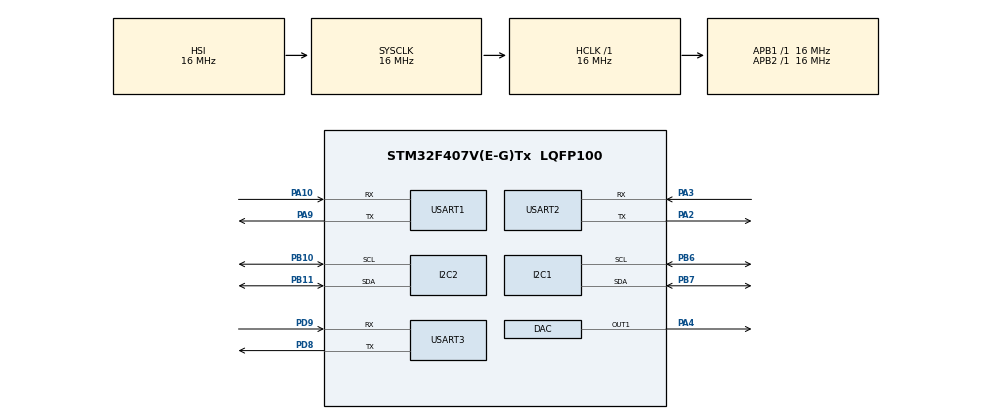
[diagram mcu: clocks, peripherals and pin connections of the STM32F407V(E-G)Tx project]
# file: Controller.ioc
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Mcu.Family=STM32F4
Mcu.Name=STM32F407V(E-G)Tx
Mcu.Package=LQFP100
NVIC.PriorityGroup=NVIC_PRIORITYGROUP_4
PA10.Mode=Asynchronous
PA10.Signal=USART1_RX
PA2.Mode=Asynchronous
PA2.Signal=USART2_TX
PA3.Mode=Asynchronous
PA3.Signal=USART2_RX
PA4.Signal=COMP_DAC1_group
PA9.Mode=Asynchronous
PA9.Signal=USART1_TX
PB10.Mode=I2C
PB10.Signal=I2C2_SCL
PB11.Mode=I2C
PB11.Signal=I2C2_SDA
PB6.Mode=I2C
PB6.Signal=I2C1_SCL
PB7.Mode=I2C
PB7.Signal=I2C1_SDA
PD8.Mode=Asynchronous
PD8.Signal=USART3_TX
PD9.Mode=Asynchronous
PD9.Signal=USART3_RX
ProjectManager.HeapSize=0x200
ProjectManager.StackSize=0x400
ProjectManager.TargetToolchain=MDK-ARM V5
RCC.AHBFreq_Value=16000000
RCC.APB1Freq_Value=16000000
RCC.APB2Freq_Value=16000000
RCC.CortexFreq_Value=16000000
RCC.HSE_VALUE=25000000
RCC.HSI_VALUE=16000000
RCC.LSE_VALUE=32768
RCC.SYSCLKFreq_VALUE=16000000
RCC.VCOOutputFreq_Value=192000000
SH.COMP_DAC1_group.0=DAC_OUT1,DAC_OUT1
USART1.VirtualMode=VM_ASYNC
USART2.VirtualMode=VM_ASYNC
USART3.VirtualMode=VM_ASYNC
VP_RTC_VS_RTC_Activate.Mode=RTC_Enabled
VP_TIM1_VS_ClockSourceINT.Mode=Internal
board=custom

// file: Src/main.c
/* USER CODE BEGIN Header */
/**
  ******************************************************************************
  * @file           : main.c
  * @brief          : Main program body
  ******************************************************************************
  * @attention
  *
  * <h2><center>&copy; Copyright (c) 2020 STMicroelectronics.
  * All rights reserved.</center></h2>
  *
  * This software component is licensed by ST under BSD 3-Clause license,
  * the "License"; You may not use this file except in compliance with the
  * License. You may obtain a copy of the License at:
  *                        opensource.org/licenses/BSD-3-Clause
  *
  ******************************************************************************
  */
/* USER CODE END Header */

#include "main.h"

/* USER CODE BEGIN Includes */
#include "main.h"
#include "stm32f4xx_hal.h"
#include "BME280.h"
#include <string.h>
#include <math.h>
#include "LCD1602.h"
/* USER CODE END Includes */

/* USER CODE BEGIN PD */
#define DAC_MAX 4095
#define DAC_MIN 2400
#define TempNormMin 18
#define TempNormMax 22
#define HumNormMin 35
#define HumNormMax 60
#define co2_max 600
/* USER CODE END PD */

DAC_HandleTypeDef hdac;

I2C_HandleTypeDef hi2c1;
I2C_HandleTypeDef hi2c2;

RTC_HandleTypeDef hrtc;

TIM_HandleTypeDef htim1;

UART_HandleTypeDef huart1;
UART_HandleTypeDef huart2;
UART_HandleTypeDef huart3;

/* USER CODE BEGIN PV */
char str1[200] = {0,};
uint8_t dummy[2];
int wifiOk = 0;
uint8_t buf[64];
uint8_t pos = 0;
uint8_t fakebuf[2];
int LCDrow=0, LCDcol=0;
float t_1 = 0.0f, h_1 = 0.0f, t_2 = 0.0f, h_2 = 0.0f, tV_1 = 0.0f, tV_2 = 0.0f, co2_1 = 0.0f, co2_2 = 0.0f;
int peop_1 = 0, peop_2 = 0;

int OpenValveStep;
/* USER CODE END PV */

void SystemClock_Config(void);
static void MX_GPIO_Init(void);
static void MX_DAC_Init(void);
static void MX_I2C1_Init(void);
static void MX_I2C2_Init(void);
static void MX_RTC_Init(void);
static void MX_TIM1_Init(void);
static void MX_USART1_UART_Init(void);
static void MX_USART2_UART_Init(void);
static void MX_USART3_UART_Init(void);
/* USER CODE BEGIN PFP */
int mystrlen(char * s1);
void puts0(char* data);
void Wifi(char* data);
void WifiInit(void);
void WifiSend(void);
void ReadTemp(void);
void ReadHum(void);
void ReadCo2(void);
void CheckDevices(float t_1,float h_1,float co2_1,float t_2,float h_2,float co2_2);
int mycmp(unsigned char* s1, char* s2, int f);
void clr_str(unsigned char* s1, unsigned int len);
void CloseValveOneStep(int a);
void OpenValveOneStep(int a);
void CloseValve(int a);
void OpenValve(int a);
void CheckTemp(float t, float h, float co2);
void CheckHum(float t, float h, float co2);
void CheckCO2(float t, float h, float co2);
void CheckValve(int a);
void CheckParam(void);
/* USER CODE END PFP */

int main(void)
{

  /* MCU Configuration--------------------------------------------------------*/

  /* Reset of all peripherals, Initializes the Flash interface and the Systick. */
  HAL_Init();

  /* Configure the system clock */
  SystemClock_Config();

  /* Initialize all configured peripherals */
  MX_GPIO_Init();
  MX_DAC_Init();
  MX_I2C1_Init();
  MX_I2C2_Init();
  MX_RTC_Init();
  MX_TIM1_Init();
  MX_USART1_UART_Init();
  MX_USART2_UART_Init();
  MX_USART3_UART_Init();
  /* USER CODE BEGIN 2 */
	HAL_UART_Receive_IT(&huart3, fakebuf, 1);
	BME280_Init();
	WifiInit();
  /* USER CODE END 2 */

  /* Infinite loop */
  while (1)
  {
		HAL_DAC_SetValue(&hdac,DAC_CHANNEL_1,DAC_ALIGN_12B_R,DAC_MAX);
		HAL_UART_Receive_IT(&huart3, (uint8_t *)fakebuf,1);
		CheckParam();
		WifiSend();
  }
}

void SystemClock_Config(void)
{
  RCC_OscInitTypeDef RCC_OscInitStruct = {0};
  RCC_ClkInitTypeDef RCC_ClkInitStruct = {0};
  RCC_PeriphCLKInitTypeDef PeriphClkInitStruct = {0};

  /** Configure the main internal regulator output voltage
  */
  __HAL_RCC_PWR_CLK_ENABLE();
  __HAL_PWR_VOLTAGESCALING_CONFIG(PWR_REGULATOR_VOLTAGE_SCALE1);
  /** Initializes the CPU, AHB and APB busses clocks
  */
  RCC_OscInitStruct.OscillatorType = RCC_OSCILLATORTYPE_HSI|RCC_OSCILLATORTYPE_LSI;
  RCC_OscInitStruct.HSIState = RCC_HSI_ON;
  RCC_OscInitStruct.HSICalibrationValue = RCC_HSICALIBRATION_DEFAULT;
  RCC_OscInitStruct.LSIState = RCC_LSI_ON;
  RCC_OscInitStruct.PLL.PLLState = RCC_PLL_NONE;
  if (HAL_RCC_OscConfig(&RCC_OscInitStruct) != HAL_OK)
  {
    Error_Handler();
  }
  /** Initializes the CPU, AHB and APB busses clocks
  */
  RCC_ClkInitStruct.ClockType = RCC_CLOCKTYPE_HCLK|RCC_CLOCKTYPE_SYSCLK
                              |RCC_CLOCKTYPE_PCLK1|RCC_CLOCKTYPE_PCLK2;
  RCC_ClkInitStruct.SYSCLKSource = RCC_SYSCLKSOURCE_HSI;
  RCC_ClkInitStruct.AHBCLKDivider = RCC_SYSCLK_DIV1;
  RCC_ClkInitStruct.APB1CLKDivider = RCC_HCLK_DIV1;
  RCC_ClkInitStruct.APB2CLKDivider = RCC_HCLK_DIV1;

  if (HAL_RCC_ClockConfig(&RCC_ClkInitStruct, FLASH_LATENCY_0) != HAL_OK)
  {
    Error_Handler();
  }
  PeriphClkInitStruct.PeriphClockSelection = RCC_PERIPHCLK_RTC;
  PeriphClkInitStruct.RTCClockSelection = RCC_RTCCLKSOURCE_LSI;
  if (HAL_RCCEx_PeriphCLKConfig(&PeriphClkInitStruct) != HAL_OK)
  {
    Error_Handler();
  }
}

static void MX_DAC_Init(void)
{

  DAC_ChannelConfTypeDef sConfig = {0};

  /** DAC Initialization
  */
  hdac.Instance = DAC;
  if (HAL_DAC_Init(&hdac) != HAL_OK)
  {
    Error_Handler();
  }
  /** DAC channel OUT1 config
  */
  sConfig.DAC_Trigger = DAC_TRIGGER_NONE;
  sConfig.DAC_OutputBuffer = DAC_OUTPUTBUFFER_ENABLE;
  if (HAL_DAC_ConfigChannel(&hdac, &sConfig, DAC_CHANNEL_1) != HAL_OK)
  {
    Error_Handler();
  }

}

static void MX_I2C1_Init(void)
{

  hi2c1.Instance = I2C1;
  hi2c1.Init.ClockSpeed = 100000;
  hi2c1.Init.DutyCycle = I2C_DUTYCYCLE_2;
  hi2c1.Init.OwnAddress1 = 0;
  hi2c1.Init.AddressingMode = I2C_ADDRESSINGMODE_7BIT;
  hi2c1.Init.DualAddressMode = I2C_DUALADDRESS_DISABLE;
  hi2c1.Init.OwnAddress2 = 0;
  hi2c1.Init.GeneralCallMode = I2C_GENERALCALL_DISABLE;
  hi2c1.Init.NoStretchMode = I2C_NOSTRETCH_DISABLE;
  if (HAL_I2C_Init(&hi2c1) != HAL_OK)
  {
    Error_Handler();
  }

}

static void MX_I2C2_Init(void)
{

  hi2c2.Instance = I2C2;
  hi2c2.Init.ClockSpeed = 100000;
  hi2c2.Init.DutyCycle = I2C_DUTYCYCLE_2;
  hi2c2.Init.OwnAddress1 = 0;
  hi2c2.Init.AddressingMode = I2C_ADDRESSINGMODE_7BIT;
  hi2c2.Init.DualAddressMode = I2C_DUALADDRESS_DISABLE;
  hi2c2.Init.OwnAddress2 = 0;
  hi2c2.Init.GeneralCallMode = I2C_GENERALCALL_DISABLE;
  hi2c2.Init.NoStretchMode = I2C_NOSTRETCH_DISABLE;
  if (HAL_I2C_Init(&hi2c2) != HAL_OK)
  {
    Error_Handler();
  }

}

static void MX_RTC_Init(void)
{

  /** Initialize RTC Only
  */
  hrtc.Instance = RTC;
  hrtc.Init.HourFormat = RTC_HOURFORMAT_24;
  hrtc.Init.AsynchPrediv = 127;
  hrtc.Init.SynchPrediv = 255;
  hrtc.Init.OutPut = RTC_OUTPUT_DISABLE;
  hrtc.Init.OutPutPolarity = RTC_OUTPUT_POLARITY_HIGH;
  hrtc.Init.OutPutType = RTC_OUTPUT_TYPE_OPENDRAIN;
  if (HAL_RTC_Init(&hrtc) != HAL_OK)
  {
    Error_Handler();
  }

}

static void MX_TIM1_Init(void)
{

  TIM_ClockConfigTypeDef sClockSourceConfig = {0};
  TIM_MasterConfigTypeDef sMasterConfig = {0};

  htim1.Instance = TIM1;
  htim1.Init.Prescaler = 0;
  htim1.Init.CounterMode = TIM_COUNTERMODE_UP;
  htim1.Init.Period = 0;
  htim1.Init.ClockDivision = TIM_CLOCKDIVISION_DIV1;
  htim1.Init.RepetitionCounter = 0;
  htim1.Init.AutoReloadPreload = TIM_AUTORELOAD_PRELOAD_DISABLE;
  if (HAL_TIM_Base_Init(&htim1) != HAL_OK)
  {
    Error_Handler();
  }
  sClockSourceConfig.ClockSource = TIM_CLOCKSOURCE_INTERNAL;
  if (HAL_TIM_ConfigClockSource(&htim1, &sClockSourceConfig) != HAL_OK)
  {
    Error_Handler();
  }
  sMasterConfig.MasterOutputTrigger = TIM_TRGO_RESET;
  sMasterConfig.MasterSlaveMode = TIM_MASTERSLAVEMODE_DISABLE;
  if (HAL_TIMEx_MasterConfigSynchronization(&htim1, &sMasterConfig) != HAL_OK)
  {
    Error_Handler();
  }

}

static void MX_USART1_UART_Init(void)
{

  huart1.Instance = USART1;
  huart1.Init.BaudRate = 115200;
  huart1.Init.WordLength = UART_WORDLENGTH_8B;
  huart1.Init.StopBits = UART_STOPBITS_1;
  huart1.Init.Parity = UART_PARITY_NONE;
  huart1.Init.Mode = UART_MODE_TX_RX;
  huart1.Init.HwFlowCtl = UART_HWCONTROL_NONE;
  huart1.Init.OverSampling = UART_OVERSAMPLING_16;
  if (HAL_UART_Init(&huart1) != HAL_OK)
  {
    Error_Handler();
  }

}

static void MX_USART2_UART_Init(void)
{

  huart2.Instance = USART2;
  huart2.Init.BaudRate = 115200;
  huart2.Init.WordLength = UART_WORDLENGTH_8B;
  huart2.Init.StopBits = UART_STOPBITS_1;
  huart2.Init.Parity = UART_PARITY_NONE;
  huart2.Init.Mode = UART_MODE_TX_RX;
  huart2.Init.HwFlowCtl = UART_HWCONTROL_NONE;
  huart2.Init.OverSampling = UART_OVERSAMPLING_16;
  if (HAL_UART_Init(&huart2) != HAL_OK)
  {
    Error_Handler();
  }

}

static void MX_USART3_UART_Init(void)
{

  huart3.Instance = USART3;
  huart3.Init.BaudRate = 115200;
  huart3.Init.WordLength = UART_WORDLENGTH_8B;
  huart3.Init.StopBits = UART_STOPBITS_1;
  huart3.Init.Parity = UART_PARITY_NONE;
  huart3.Init.Mode = UART_MODE_TX_RX;
  huart3.Init.HwFlowCtl = UART_HWCONTROL_NONE;
  huart3.Init.OverSampling = UART_OVERSAMPLING_16;
  if (HAL_UART_Init(&huart3) != HAL_OK)
  {
    Error_Handler();
  }

}

static void MX_GPIO_Init(void)
{

  /* GPIO Ports Clock Enable */
  __HAL_RCC_GPIOA_CLK_ENABLE();
  __HAL_RCC_GPIOB_CLK_ENABLE();
  __HAL_RCC_GPIOD_CLK_ENABLE();

}

/* USER CODE BEGIN 4 */
int mystrlen(char * s1)
{
    unsigned int i = 0;
    while (*s1 != 0)
    {
        s1++;
        i++;
    }
    return i;
}

void puts0(char* data)
{
		HAL_UART_Transmit(&huart2,(uint8_t*)data,mystrlen(data),0xFFFF);
}

void Wifi(char* data)
{
		HAL_UART_Transmit(&huart2,(uint8_t*)data,mystrlen(data),0xFFFF);
		HAL_UART_Transmit(&huart3,(uint8_t*)data,mystrlen(data),0xFFFF);
}

void HAL_UART_RxCpltCallback(UART_HandleTypeDef *huart)
{

		int err = 0;
		if (huart->Instance==USART3) {
			buf[pos] = USART3->DR;
			pos++;

			if ((pos>0) && (((buf[pos-1] == '\r') || (buf[pos-1] == '\n')) || (pos > 63)))
				{
					puts0(buf);
					if(pos>0) {
						buf[pos - 1] = '\0';}
					else buf[0] = 0;
						err = 1;
					if(mycmp(buf, "OK", 2)) {
						puts0("OK\r\n");
						err = 0;}
					if(mycmp(buf, "ERROR", 5)) {
						puts0("Error\r\n");
						err = 0;}
					if(mycmp(buf, "Unlink", 6)) {
						err = 0;
						puts0("Unlink\r\n");}
					if((err == 1)) {
					puts0("NoDetectedCommand\r\n");}
					sprintf(str1, "%s%s", buf, "\n");
					puts0(str1);
					clr_str(buf, pos);
					pos=0;
					}
			HAL_UART_Receive_IT(&huart3, (uint8_t *)fakebuf,1);
	}
}

void clr_str(unsigned char* s1, unsigned int len)
{
        while (len != 0)
        {
            *s1 = 0;
            s1++;
            len--;
        }
}

int mycmp(unsigned char* s1, char* s2, int f)
{
    int i;
    for (i = 0; i < f; i++)
    {
        if (*s1 != *s2)
        {
            return 0;
        }
        s1++;
        s2++;
    }
    return 1;
}

void WifiInit()
{
	Wifi("AT\r\n");
	HAL_Delay(5000);
	Wifi("AT+CWJAP=\"Redmi1\",\"12345678\"\r\n");
	HAL_Delay(5000);
	Wifi("AT+CIPMODE=1\r\n");
	HAL_Delay(2000);
	Wifi("AT+CIPMUX=0\r\n");
	HAL_Delay(2000);
}

void WifiSend()
{
		sprintf(str1, "AT+CIPSTART=\"TCP\",\"185.209.28.198\",8000\r\n");
		Wifi(str1);
		HAL_Delay(5000);
		Wifi("AT+CIPSEND\r\n");
		HAL_Delay(5000);
		sprintf(str1, "%s%f%s%f%s","GET /dev/datchik?did=yrU4zbm0Li9wU7eY3Qn0&rid_0=1&hum_0=",h_1,"&rid_1=2&tr_1=",t_1," HTTP/1.1\r\n\r\n");
		Wifi(str1);
		HAL_Delay(1000);
}

void ReadTemp()
{
		t_1 = BME280_ReadTemperature();
		sprintf(str1, "Temperature: %.3f *C\r\n", t_1);
		puts0(str1);
}

void ReadHum()
{
		h_1 = BME280_ReadHumidity();
		sprintf(str1, "Humidity: %.3f %%\r\n", h_1);
		puts0(str1);
}

void ReadCo2()
{
		co2_1 = MHZ19b_ReadCO2();
		sprintf(str1, "Humidity: %.3f %%\r\n", h_1);
		puts0(str1);
}

//GPIOD8 - heater
void CheckTemp(float t, float h, float co2)
{
	if (t > TempNormMax)
		OpenValveStep++;
	else
		if ((co2 < co2_max) && (h < HumNormMax) && (h > HumNormMin))
			OpenValveStep--;
	if (t < TempNormMin)
		HAL_GPIO_WritePin(GPIOD, GPIO_PIN_8, GPIO_PIN_SET);
	else
		HAL_GPIO_WritePin(GPIOD, GPIO_PIN_8, GPIO_PIN_RESET);
}

void CheckCO2(float t, float h, float co2)
{
	if (co2 > co2_max)
		OpenValveStep++;
	else
		if ((t < TempNormMax) && (t > TempNormMin) && (h < HumNormMax) && (h > HumNormMin))
			OpenValveStep--;
}

//GPIOD9 - humidifier
void CheckHum(float t, float h, float co2)
{
	if (h > HumNormMax)
		OpenValveStep++;
	else
		if ((co2 < co2_max) && (t < TempNormMax) && (t > TempNormMin))
			OpenValveStep--;
	if (h < HumNormMin)
		HAL_GPIO_WritePin(GPIOD, GPIO_PIN_9, GPIO_PIN_SET);
	else
		HAL_GPIO_WritePin(GPIOD, GPIO_PIN_9, GPIO_PIN_RESET);
}

void CheckValve(int a)
{
	switch (a){
		case 0:
		{
			OpenValve(0);
			break;
		}
		case 1:
		{
			OpenValve(26);
			break;
		}
		case 2:
		{
			OpenValve(52);
			break;
		}
		case 3:
		{
			OpenValve(78);
			break;
		}
		case 4:
		{
			OpenValve(104);
			break;
		}
		case 5:
		{
			OpenValve(130);
			break;
		}
		default:
		{
			CloseValve(130);
			OpenValveStep = 0;
			break;
		}
	}
}
void CheckParam()
{
		ReadTemp();
		ReadHum();
		ReadCo2();
		CheckCO2(t_1, h_1, co2_1);
		CheckValve(OpenValveStep);
		CheckCO2(t_2, h_2, co2_2);
		CheckValve(OpenValveStep);
		CheckHum(t_1, h_1, co2_1);
		CheckValve(OpenValveStep);
		CheckHum(t_2, h_2, co2_2);
		CheckValve(OpenValveStep);
		CheckTemp(t_1, h_1, co2_1);
		CheckValve(OpenValveStep);
		CheckTemp(t_2, h_2, co2_2);
}
void CloseValveOneStep(int a)
{
	int i=0;
	for (i=0; i<=a; i++)
	{
		HAL_GPIO_WritePin(GPIOD, GPIO_PIN_3, GPIO_PIN_SET);
		HAL_GPIO_WritePin(GPIOD, GPIO_PIN_4, GPIO_PIN_SET);
		HAL_GPIO_WritePin(GPIOD, GPIO_PIN_5, GPIO_PIN_RESET);
		HAL_GPIO_WritePin(GPIOD, GPIO_PIN_6, GPIO_PIN_RESET);
		HAL_Delay(50);
		HAL_GPIO_WritePin(GPIOD, GPIO_PIN_3, GPIO_PIN_RESET);
		HAL_GPIO_WritePin(GPIOD, GPIO_PIN_4, GPIO_PIN_SET);
		HAL_GPIO_WritePin(GPIOD, GPIO_PIN_5, GPIO_PIN_SET);
		HAL_GPIO_WritePin(GPIOD, GPIO_PIN_6, GPIO_PIN_RESET);
		HAL_Delay(50);
		HAL_GPIO_WritePin(GPIOD, GPIO_PIN_3, GPIO_PIN_RESET);
		HAL_GPIO_WritePin(GPIOD, GPIO_PIN_4, GPIO_PIN_RESET);
		HAL_GPIO_WritePin(GPIOD, GPIO_PIN_5, GPIO_PIN_SET);
		HAL_GPIO_WritePin(GPIOD, GPIO_PIN_6, GPIO_PIN_SET);
		HAL_Delay(50);
		HAL_GPIO_WritePin(GPIOD, GPIO_PIN_3, GPIO_PIN_SET);
		HAL_GPIO_WritePin(GPIOD, GPIO_PIN_4, GPIO_PIN_RESET);
		HAL_GPIO_WritePin(GPIOD, GPIO_PIN_5, GPIO_PIN_RESET);
		HAL_GPIO_WritePin(GPIOD, GPIO_PIN_6, GPIO_PIN_SET);
		HAL_Delay(50);
	}
	HAL_GPIO_WritePin(GPIOD, GPIO_PIN_3, GPIO_PIN_RESET);
	HAL_GPIO_WritePin(GPIOD, GPIO_PIN_4, GPIO_PIN_RESET);
	HAL_GPIO_WritePin(GPIOD, GPIO_PIN_5, GPIO_PIN_RESET);
	HAL_GPIO_WritePin(GPIOD, GPIO_PIN_6, GPIO_PIN_RESET);
}

void OpenValveOneStep(int a)
{
	int i=0;
	for (i=0; i<=a; i++)
	{
		HAL_GPIO_WritePin(GPIOD, GPIO_PIN_3, GPIO_PIN_SET);
		HAL_GPIO_WritePin(GPIOD, GPIO_PIN_4, GPIO_PIN_RESET);
		HAL_GPIO_WritePin(GPIOD, GPIO_PIN_5, GPIO_PIN_RESET);
		HAL_GPIO_WritePin(GPIOD, GPIO_PIN_6, GPIO_PIN_SET);
		HAL_Delay(50);
		HAL_GPIO_WritePin(GPIOD, GPIO_PIN_3, GPIO_PIN_RESET);
		HAL_GPIO_WritePin(GPIOD, GPIO_PIN_4, GPIO_PIN_RESET);
		HAL_GPIO_WritePin(GPIOD, GPIO_PIN_5, GPIO_PIN_SET);
		HAL_GPIO_WritePin(GPIOD, GPIO_PIN_6, GPIO_PIN_SET);
		HAL_Delay(50);
		HAL_GPIO_WritePin(GPIOD, GPIO_PIN_3, GPIO_PIN_RESET);
		HAL_GPIO_WritePin(GPIOD, GPIO_PIN_4, GPIO_PIN_SET);
		HAL_GPIO_WritePin(GPIOD, GPIO_PIN_5, GPIO_PIN_SET);
		HAL_GPIO_WritePin(GPIOD, GPIO_PIN_6, GPIO_PIN_RESET);
		HAL_Delay(50);
		HAL_GPIO_WritePin(GPIOD, GPIO_PIN_3, GPIO_PIN_SET);
		HAL_GPIO_WritePin(GPIOD, GPIO_PIN_4, GPIO_PIN_SET);
		HAL_GPIO_WritePin(GPIOD, GPIO_PIN_5, GPIO_PIN_RESET);
		HAL_GPIO_WritePin(GPIOD, GPIO_PIN_6, GPIO_PIN_RESET);
		HAL_Delay(50);
	}
	HAL_GPIO_WritePin(GPIOD, GPIO_PIN_3, GPIO_PIN_RESET);
	HAL_GPIO_WritePin(GPIOD, GPIO_PIN_4, GPIO_PIN_RESET);
	HAL_GPIO_WritePin(GPIOD, GPIO_PIN_5, GPIO_PIN_RESET);
	HAL_GPIO_WritePin(GPIOD, GPIO_PIN_6, GPIO_PIN_RESET);
}

void OpenValve(int a)
{
		int j;
		for (j = 0; j < a; j++)
		{
			OpenValveOneStep(1);
			HAL_Delay(10);
		}
}

void CloseValve(int a)
{
		int j;
		for (j = 0; j < a; j++)
		{
			CloseValveOneStep(1);
			HAL_Delay(10);
		}
}
/* USER CODE END 4 */

void Error_Handler(void)
{
}

/************************ (C) COPYRIGHT STMicroelectronics *****END OF FILE****/
